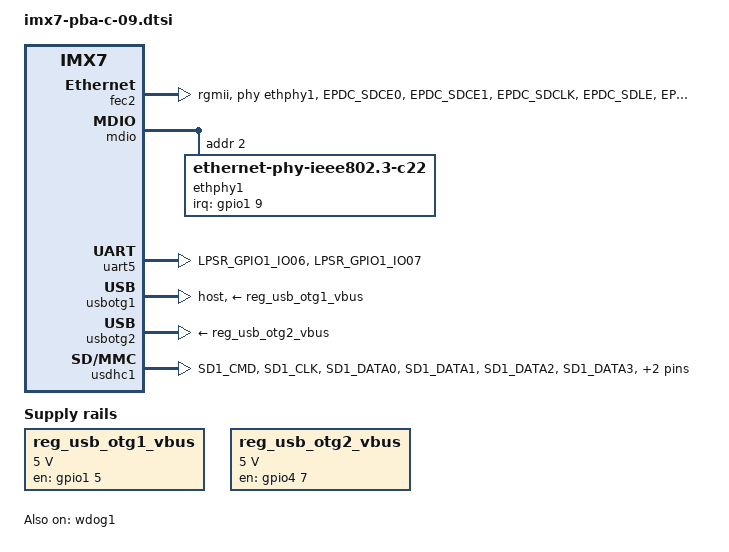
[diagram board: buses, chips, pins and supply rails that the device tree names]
// SPDX-License-Identifier: GPL-2.0-or-later
/* Copyright (C) 2015-2021 PHYTEC America, LLC */

/ {
	regulators {
		compatible = "simple-bus";
		#address-cells = <1>;
		#size-cells = <0>;

		reg_usb_otg1_vbus: regulator@0 {
			compatible = "regulator-fixed";
			pinctrl-names = "default";
			pinctrl-0 = <&pinctrl_usb1_vbus>;
			regulator-name = "usb_otg1_vbus";
			reg = <0>;
			regulator-min-microvolt = <5000000>;
			regulator-max-microvolt = <5000000>;
			gpio = <&gpio1 5 GPIO_ACTIVE_HIGH>;
			enable-active-high;
		};

		reg_usb_otg2_vbus: regulator@1 {
			compatible = "regulator-fixed";
			pinctrl-names = "default";
			pinctrl-0 = <&pinctrl_usb2_vbus>;
			regulator-name = "usb_otg2_vbus";
			reg = <1>;
			regulator-min-microvolt = <5000000>;
			regulator-max-microvolt = <5000000>;
			gpio = <&gpio4 7 GPIO_ACTIVE_HIGH>;
			enable-active-high;
		};
	};
};

&fec2 {
	pinctrl-names = "default";
	pinctrl-0 = <&pinctrl_enet2>;
	assigned-clocks = <&clks IMX7D_ENET2_TIME_ROOT_SRC>,
			<&clks IMX7D_ENET2_TIME_ROOT_CLK>;
	assigned-clock-parents = <&clks IMX7D_PLL_ENET_MAIN_100M_CLK>;
	assigned-clock-rates = <0>, <100000000>;
	phy-mode = "rgmii";
	phy-handle = <&ethphy1>;
	fsl,magic-packet;
	phy-reset-gpios = <&gpio2 30 GPIO_ACTIVE_LOW>;
	status = "okay";
};

/* same MDIO bus as PHY on phyCORE SOM */
&mdio {
	ethphy1: ethernet-phy@2 {
		compatible = "ethernet-phy-ieee802.3-c22";
		interrupt-parent = <&gpio1>;
		interrupts = <9 0>;
		reg = <2>;
		rxdv-skew-ps = <0>;
		txen-skew-ps = <0>;
		rxd0-skew-ps = <0>;
		rxd1-skew-ps = <0>;
		rxd2-skew-ps = <0>;
		rxd3-skew-ps = <0>;
		rxc-skew-ps = <1860>;
		txc-skew-ps = <1860>;
	};
};

&uart5 {
	pinctrl-names = "default";
	pinctrl-0 = <&pinctrl_uart5>;
	assigned-clocks = <&clks IMX7D_UART5_ROOT_SRC>;
	assigned-clock-parents = <&clks IMX7D_OSC_24M_CLK>;
	status = "okay";
};

&usbotg1 {
	vbus-supply = <&reg_usb_otg1_vbus>;
	dr_mode = "host";
	status = "okay";
};

&usbotg2 {
	vbus-supply = <&reg_usb_otg2_vbus>;
	status = "okay";
};

&usdhc1 {
	pinctrl-names = "default";
	pinctrl-0 = <&pinctrl_usdhc1>;
	cd-gpios = <&gpio5 0 GPIO_ACTIVE_LOW>;
	no-1-8-v; /* Fixed voltage supply, doesn't support vsel */
	enable-sdio-wakeup;
	keep-power-in-suspend;
	status = "okay";
};

&wdog1 {
	pinctrl-names = "default";
	pinctrl-0 = <&pinctrl_wdog>;
	fsl,wdog_b;
	status = "okay";
};

&iomuxc {
	pinctrl_enet2: enet2grp {
		fsl,pins = <
			MX7D_PAD_EPDC_SDCE0__ENET2_RGMII_RX_CTL	0x5
			MX7D_PAD_EPDC_SDCE1__ENET2_RGMII_RXC	0x5
			MX7D_PAD_EPDC_SDCLK__ENET2_RGMII_RD0	0x5
			MX7D_PAD_EPDC_SDLE__ENET2_RGMII_RD1	0x5
			MX7D_PAD_EPDC_SDOE__ENET2_RGMII_RD2	0x5
			MX7D_PAD_EPDC_SDSHR__ENET2_RGMII_RD3	0x5
			MX7D_PAD_EPDC_SDCE2__ENET2_RGMII_TD0	0x5
			MX7D_PAD_EPDC_SDCE3__ENET2_RGMII_TD1	0x5
			MX7D_PAD_EPDC_GDCLK__ENET2_RGMII_TD2	0x5
			MX7D_PAD_EPDC_GDOE__ENET2_RGMII_TD3	0x5
			MX7D_PAD_EPDC_GDRL__ENET2_RGMII_TX_CTL	0x5
			MX7D_PAD_EPDC_GDSP__ENET2_RGMII_TXC	0x5
			/* ETH2 INT_N */
			MX7D_PAD_GPIO1_IO09__GPIO1_IO9		0x59
			/* ETH2 RESET_N */
			MX7D_PAD_EPDC_PWR_COM__GPIO2_IO30	0x59
		>;
	};

	pinctrl_usb2_vbus: usb2grp {
		fsl,pins = <
			/* X_USB_OTG2_PWR */
			MX7D_PAD_UART3_CTS_B__GPIO4_IO7		0x14
		>;
	};

	pinctrl_usdhc1: usdhc1grp {
		fsl,pins = <
			MX7D_PAD_SD1_CMD__SD1_CMD	0x59
			MX7D_PAD_SD1_CLK__SD1_CLK	0x19
			MX7D_PAD_SD1_DATA0__SD1_DATA0	0x59
			MX7D_PAD_SD1_DATA1__SD1_DATA1	0x59
			MX7D_PAD_SD1_DATA2__SD1_DATA2	0x59
			MX7D_PAD_SD1_DATA3__SD1_DATA3	0x59
			MX7D_PAD_SD1_CD_B__GPIO5_IO0	0x59	/* X_SD1_CD_B */
		>;
	};
};

&iomuxc_lpsr {
	pinctrl_uart5: uart5grp {
		fsl,pins = <
			MX7D_PAD_LPSR_GPIO1_IO06__UART5_DCE_RX	0x79
			MX7D_PAD_LPSR_GPIO1_IO07__UART5_DCE_TX	0x79
		>;
	};

	pinctrl_usb1_vbus: usb1grp {
		fsl,pins = <
			/* X_USB_OTG1_PWR */
			MX7D_PAD_LPSR_GPIO1_IO05__GPIO1_IO5	0x14
		>;
	};

	pinctrl_wdog: wdoggrp {
		fsl,pins = <
			MX7D_PAD_LPSR_GPIO1_IO00__WDOG1_WDOG_B	0x74
		>;
	};
};
